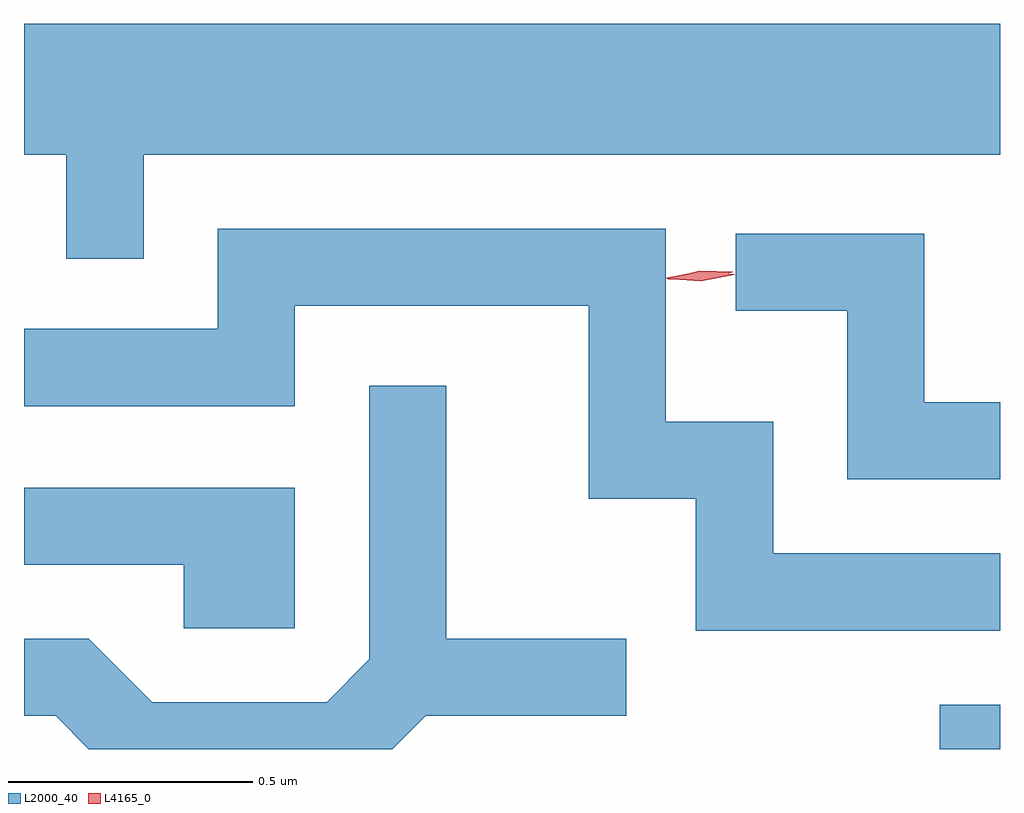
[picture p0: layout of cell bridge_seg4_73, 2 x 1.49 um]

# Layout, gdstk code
import gdstk
lib = gdstk.Library(unit=1e-6, precision=1e-09)
def R(c, l, rs):  # rectangles x0, y0, x1, y1
    for r in rs: c.add(gdstk.rectangle(r[:2], r[2:], *l))
def P(c, l, *ps):  # polygons
    for p in ps: c.add(gdstk.Polygon(p, *l))
L2000_40 = (2000, 40)
L4165_0 = (4165, 0)

bridge_seg4_73 = lib.new_cell('bridge_seg4_73')
R(bridge_seg4_73, L2000_40, [(1507.511,1315.718,1507.634,1315.809)])
P(bridge_seg4_73, L2000_40, [(1505.879,1316.936),(1507.634,1316.936),(1507.634,1317.204),(1505.634,1317.204),(1505.634,1316.936),(1505.721,1316.936),(1505.721,1316.723),(1505.879,1316.723)],
  [(1507.634,1316.119),(1507.169,1316.119),(1507.169,1316.389),(1506.949,1316.389),(1506.949,1316.784),(1506.031,1316.784),(1506.031,1316.579),(1505.634,1316.579),(1505.634,1316.421),(1506.189,1316.421),(1506.189,1316.626),(1506.791,1316.626),(1506.791,1316.231),(1507.011,1316.231),(1507.011,1315.961),(1507.634,1315.961)],
  [(1507.634,1316.429),(1507.479,1316.429),(1507.479,1316.774),(1507.093,1316.774),(1507.093,1316.616),(1507.321,1316.616),(1507.321,1316.271),(1507.634,1316.271)],
  [(1506.457,1315.786),(1506.868,1315.786),(1506.868,1315.944),(1506.499,1315.944),(1506.499,1316.463),(1506.341,1316.463),(1506.341,1315.902),(1506.254,1315.814),(1505.897,1315.814),(1505.767,1315.944),(1505.634,1315.944),(1505.634,1315.786),(1505.699,1315.786),(1505.767,1315.718),(1506.389,1315.718)],
  [(1506.189,1316.254),(1505.634,1316.254),(1505.634,1316.096),(1505.961,1316.096),(1505.961,1315.966),(1506.189,1315.966)])
P(bridge_seg4_73, L4165_0, [(1507.021,1316.677),(1506.951,1316.682),(1506.951,1316.683),(1506.951,1316.684),(1507.02,1316.697),(1507.089,1316.691),(1507.09,1316.691),(1507.089,1316.69)],
  [(1507.021,1316.678),(1506.954,1316.681),(1506.954,1316.681),(1506.954,1316.682),(1507.019,1316.698),(1507.086,1316.696),(1507.086,1316.696),(1507.086,1316.695)])

lib.write_gds('bridge_seg4_73.gds')
